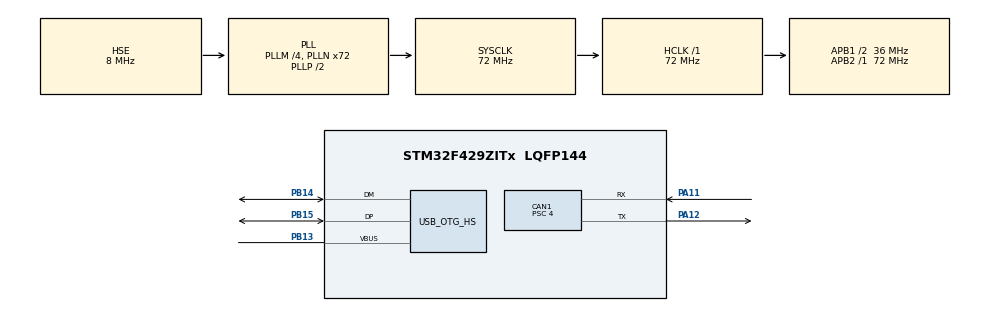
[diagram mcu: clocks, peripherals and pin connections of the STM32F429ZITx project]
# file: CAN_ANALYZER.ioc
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CAN1.BS1=CAN_BS1_15TQ
CAN1.BS2=CAN_BS2_2TQ
CAN1.CalculateBaudRate=500000
CAN1.CalculateTimeBit=2000
CAN1.CalculateTimeQuantum=111.11111111111111
CAN1.Prescaler=4
Mcu.Family=STM32F4
Mcu.Name=STM32F429ZITx
Mcu.Package=LQFP144
NVIC.CAN1_RX0_IRQn=true\:0\:0\:false\:false\:true\:true\:true\:true
NVIC.OTG_HS_IRQn=true\:0\:0\:false\:false\:true\:false\:true\:true
NVIC.PriorityGroup=NVIC_PRIORITYGROUP_0
PA11.GPIO_PuPd=GPIO_PULLUP
PA11.Mode=CAN_Activate
PA11.Signal=CAN1_RX
PA12.Mode=CAN_Activate
PA12.Signal=CAN1_TX
PB13.Mode=Activate_VBUS_FS
PB13.Signal=USB_OTG_HS_VBUS
PB14.Mode=Device_Only_FS
PB14.Signal=USB_OTG_HS_DM
PB15.Mode=Device_Only_FS
PB15.Signal=USB_OTG_HS_DP
PH0/OSC_IN.Mode=HSE-External-Oscillator
PH0/OSC_IN.Signal=RCC_OSC_IN
PH1/OSC_OUT.Mode=HSE-External-Oscillator
PH1/OSC_OUT.Signal=RCC_OSC_OUT
ProjectManager.HeapSize=0x200
ProjectManager.StackSize=0x400
ProjectManager.TargetToolchain=STM32CubeIDE
RCC.48MHZClocksFreq_Value=48000000
RCC.AHBFreq_Value=72000000
RCC.APB1CLKDivider=RCC_HCLK_DIV2
RCC.APB1Freq_Value=36000000
RCC.APB1TimFreq_Value=72000000
RCC.APB2Freq_Value=72000000
RCC.APB2TimFreq_Value=72000000
RCC.CortexFreq_Value=72000000
RCC.HCLKFreq_Value=72000000
RCC.HSE_VALUE=8000000
RCC.HSI_VALUE=16000000
RCC.LSE_VALUE=32768
RCC.PLLM=4
RCC.PLLN=72
RCC.PLLQ=3
RCC.SYSCLKFreq_VALUE=72000000
RCC.SYSCLKSource=RCC_SYSCLKSOURCE_PLLCLK
RCC.VCOOutputFreq_Value=144000000
USB_DEVICE.CLASS_NAME_HS=CDC
USB_DEVICE.VirtualMode-CDC_HS=Cdc
USB_DEVICE.VirtualModeHS=Cdc_HS
USB_OTG_HS.VirtualMode-Device_Only_FS=Device_Only_FS
VP_USB_DEVICE_VS_USB_DEVICE_CDC_HS.Mode=CDC_HS
board=STM32F429I-DISC1

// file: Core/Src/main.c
/* USER CODE BEGIN Header */
/**
  ******************************************************************************
  * @file           : main.c
  * @brief          : Main program body
  ******************************************************************************
  * @attention
  *
  * Copyright (c) 2025 STMicroelectronics.
  * All rights reserved.
  *
  * This software is licensed under terms that can be found in the LICENSE file
  * in the root directory of this software component.
  * If no LICENSE file comes with this software, it is provided AS-IS.
  *
  ******************************************************************************
  */
/* USER CODE END Header */
#include "main.h"
#include "usb_device.h"

/* USER CODE BEGIN Includes */
#include "can_analyzer.h"
/* USER CODE END Includes */

CAN_HandleTypeDef hcan1;

void SystemClock_Config(void);
static void MX_GPIO_Init(void);
static void MX_CAN1_Init(void);

/* USER CODE BEGIN 0 */
static CAN_TxHeaderTypeDef TxHeader;
static CAN_RxHeaderTypeDef RxHeader;
static CAN_FilterTypeDef Canfilterconfig;
static can_analyzer_handle_t analyzer_handler;
static uint32_t TxMailbox;

static uint8_t buffer[256];
/* USER CODE END 0 */

int main(void)
{

  /* MCU Configuration--------------------------------------------------------*/

  /* Reset of all peripherals, Initializes the Flash interface and the Systick. */
	HAL_Init();

  /* Configure the system clock */
  SystemClock_Config();

  /* Initialize all configured peripherals */
  MX_GPIO_Init();
  MX_CAN1_Init();
  MX_USB_DEVICE_Init();
  /* USER CODE BEGIN 2 */

  analyzer_handler.can.pcan = &hcan1;
  analyzer_handler.can.pTxMailbox = &TxMailbox;
  analyzer_handler.can.pcanTxheader = &TxHeader;
  analyzer_handler.can.pcanRxheader = &RxHeader;
  analyzer_handler.can.pcanconfig = &Canfilterconfig;
  analyzer_handler.data = buffer;
  analyzer_handler.broadcast = CAN_NODE_BROADCAST_DISABLE;

  can_analyzer_init(&analyzer_handler);

  /* USER CODE END 2 */

  /* Infinite loop */
  while (1)
  {

    /* USER CODE BEGIN 3 */
	  can_analyzer_statemachine(&analyzer_handler);
  }
  /* USER CODE END 3 */
}

void SystemClock_Config(void)
{
  RCC_OscInitTypeDef RCC_OscInitStruct = {0};
  RCC_ClkInitTypeDef RCC_ClkInitStruct = {0};

  /** Configure the main internal regulator output voltage
  */
  __HAL_RCC_PWR_CLK_ENABLE();
  __HAL_PWR_VOLTAGESCALING_CONFIG(PWR_REGULATOR_VOLTAGE_SCALE3);

  /** Initializes the RCC Oscillators according to the specified parameters
  * in the RCC_OscInitTypeDef structure.
  */
  RCC_OscInitStruct.OscillatorType = RCC_OSCILLATORTYPE_HSE;
  RCC_OscInitStruct.HSEState = RCC_HSE_ON;
  RCC_OscInitStruct.PLL.PLLState = RCC_PLL_ON;
  RCC_OscInitStruct.PLL.PLLSource = RCC_PLLSOURCE_HSE;
  RCC_OscInitStruct.PLL.PLLM = 4;
  RCC_OscInitStruct.PLL.PLLN = 72;
  RCC_OscInitStruct.PLL.PLLP = RCC_PLLP_DIV2;
  RCC_OscInitStruct.PLL.PLLQ = 3;
  if (HAL_RCC_OscConfig(&RCC_OscInitStruct) != HAL_OK)
  {
    Error_Handler();
  }

  /** Initializes the CPU, AHB and APB buses clocks
  */
  RCC_ClkInitStruct.ClockType = RCC_CLOCKTYPE_HCLK|RCC_CLOCKTYPE_SYSCLK
                              |RCC_CLOCKTYPE_PCLK1|RCC_CLOCKTYPE_PCLK2;
  RCC_ClkInitStruct.SYSCLKSource = RCC_SYSCLKSOURCE_PLLCLK;
  RCC_ClkInitStruct.AHBCLKDivider = RCC_SYSCLK_DIV1;
  RCC_ClkInitStruct.APB1CLKDivider = RCC_HCLK_DIV2;
  RCC_ClkInitStruct.APB2CLKDivider = RCC_HCLK_DIV1;

  if (HAL_RCC_ClockConfig(&RCC_ClkInitStruct, FLASH_LATENCY_2) != HAL_OK)
  {
    Error_Handler();
  }
}

static void MX_CAN1_Init(void)
{

  hcan1.Instance = CAN1;
  hcan1.Init.Prescaler = 4;
  hcan1.Init.Mode = CAN_MODE_NORMAL;
  hcan1.Init.SyncJumpWidth = CAN_SJW_1TQ;
  hcan1.Init.TimeSeg1 = CAN_BS1_15TQ;
  hcan1.Init.TimeSeg2 = CAN_BS2_2TQ;
  hcan1.Init.TimeTriggeredMode = DISABLE;
  hcan1.Init.AutoBusOff = DISABLE;
  hcan1.Init.AutoWakeUp = DISABLE;
  hcan1.Init.AutoRetransmission = DISABLE;
  hcan1.Init.ReceiveFifoLocked = DISABLE;
  hcan1.Init.TransmitFifoPriority = DISABLE;
  if (HAL_CAN_Init(&hcan1) != HAL_OK)
  {
    Error_Handler();
  }

}

static void MX_GPIO_Init(void)
{

  /* GPIO Ports Clock Enable */
  __HAL_RCC_GPIOH_CLK_ENABLE();
  __HAL_RCC_GPIOB_CLK_ENABLE();
  __HAL_RCC_GPIOA_CLK_ENABLE();

}

void Error_Handler(void)
{
  __disable_irq();
  while (1)
  {
  }
}
